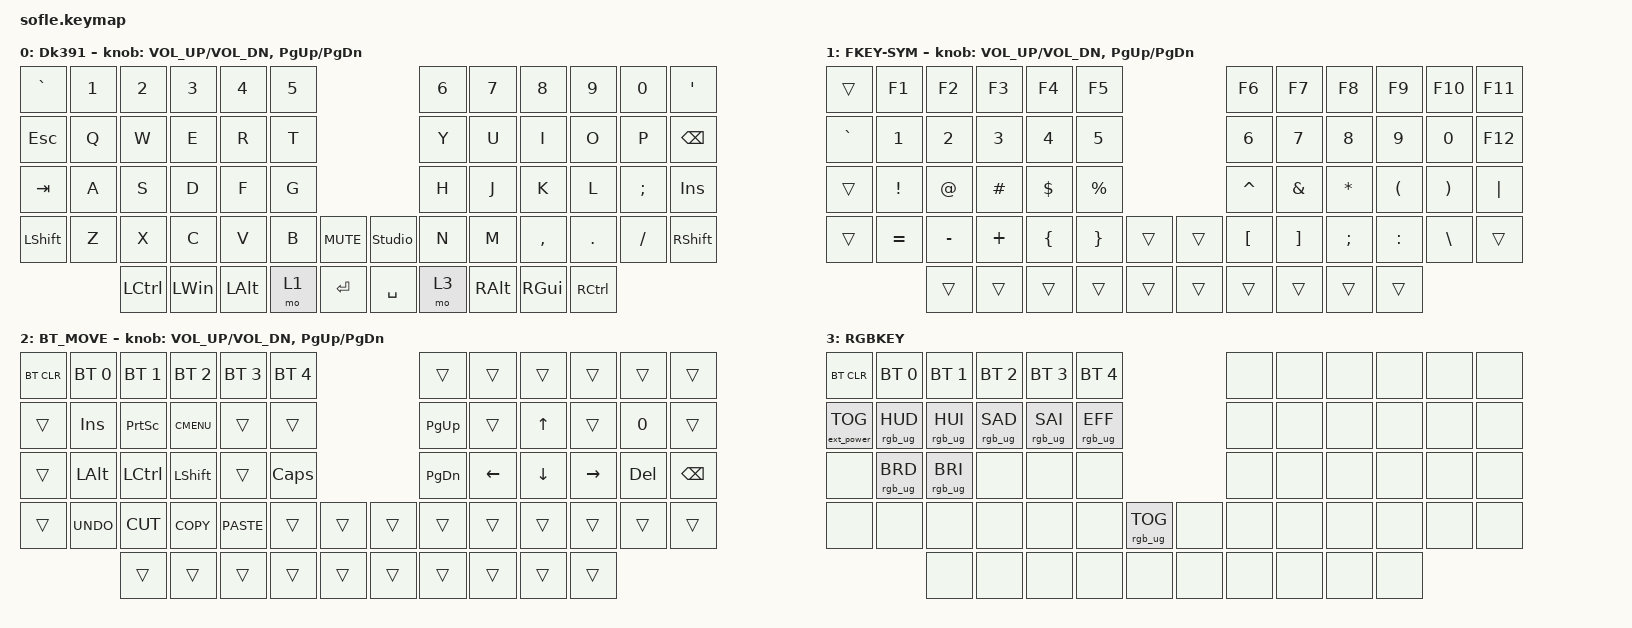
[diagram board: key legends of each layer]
/*
 * Copyright (c) 2020 The ZMK Contributors
 *
 * SPDX-License-Identifier: MIT
 */

#include <behaviors.dtsi>
#include <dt-bindings/zmk/bt.h>
#include <dt-bindings/zmk/ext_power.h>
#include <dt-bindings/zmk/keys.h>
#include <dt-bindings/zmk/rgb.h>

#define BASE 0
#define LOWER 1
#define RAISE 2
#define ADJUST 3

/ {
    // Activate ADJUST layer by pressing raise and lower

    conditional_layers {
        compatible = "zmk,conditional-layers";

        adjust_layer {
            if-layers = <1 3>;
            then-layer = <4>;
        };
    };

    combos {
        compatible = "zmk,combos";

        PowerOFF {
            bindings = <&kp K_POWER>;
            key-positions = <0 11 50 59>;
        };
    };

    keymap {
        compatible = "zmk,keymap";

        DEFAULT_LAYER {
            display-name = "Dk391";

            // ------------------------------------------------------------------------------------------------------------
            // |   `   |  1  |  2  |  3   |  4   |  5   |                   |  6   |  7    |  8    |  9   |   0   |       |
            // |  ESC  |  Q  |  W  |  E   |  R   |  T   |                   |  Y   |  U    |  I    |  O   |   P   | BKSPC |
            // |  TAB  |  A  |  S  |  D   |  F   |  G   |                   |  H   |  J    |  K    |  L   |   ;   |   '   |
            // | SHIFT |  Z  |  X  |  C   |  V   |  B   |  MUTE  |  |       |  N   |  M    |  ,    |  .   |   /   | SHIFT |
            //               | GUI | ALT  | CTRL | LOWER|  ENTER |  | SPACE | RAISE| CTRL  | ALT   | GUI  |

            bindings = <
&kp GRAVE       &kp N1  &kp N2     &kp N3        &kp N4    &kp N5                                &kp N6  &kp N7    &kp N8         &kp N9      &kp N0     &kp SINGLE_QUOTE
&kp ESC         &kp Q   &kp W      &kp E         &kp R     &kp T                                 &kp Y   &kp U     &kp I          &kp O       &kp P      &kp BACKSPACE
&kp TAB         &kp A   &kp S      &kp D         &kp F     &kp G                                 &kp H   &kp J     &kp K          &kp L       &kp SEMI   &kp INS
&kp LEFT_SHIFT  &kp Z   &kp X      &kp C         &kp V     &kp B   &kp C_MUTE    &studio_unlock  &kp N   &kp M     &kp COMMA      &kp PERIOD  &kp SLASH  &kp RIGHT_SHIFT
                        &kp LCTRL  &kp LEFT_WIN  &kp LALT  &mo 1   &kp RET       &kp SPACE       &mo 3   &kp RALT  &kp RIGHT_GUI  &kp RCTRL
            >;

            sensor-bindings = <&inc_dec_kp C_VOL_UP C_VOL_DN &inc_dec_kp PG_UP PG_DN>;
        };

        lower_layer {
            display-name = "FKEY-SYM";

            // TODO: Some binds are waiting for shifted keycode support.
            // ------------------------------------------------------------------------------------------------------------
            // |       |  F1 |  F2 |  F3  |  F4  |  F5  |                   |  F6  |  F7   |  F8   |  F9  |  F10  |  F11  |
            // |   `   |  1  |  2  |  3   |  4   |  5   |                   |  6   |  7    |  8    |  9   |   0   |  F12  |
            // |       |  !  |  @  |  #   |  $   |  %   |                   |  ^   |  &    |  *    |  (   |   )   |   |   |
            // |       |  =  |  -  |  +   |  {   |  }   |        |  |       |  [   |  ]    |  ;    |  :   |   \   |       |
            //               |     |      |      |      |        |  |       |      |       |       |      |

            bindings = <
&trans     &kp F1     &kp F2     &kp F3    &kp F4    &kp F5                       &kp F6     &kp F7    &kp F8     &kp F9     &kp F10   &kp F11
&kp GRAVE  &kp N1     &kp N2     &kp N3    &kp N4    &kp N5                       &kp N6     &kp N7    &kp N8     &kp N9     &kp N0    &kp F12
&trans     &kp EXCL   &kp AT     &kp HASH  &kp DLLR  &kp PRCNT                    &kp CARET  &kp AMPS  &kp ASTRK  &kp LPAR   &kp RPAR  &kp PIPE
&trans     &kp EQUAL  &kp MINUS  &kp PLUS  &kp LBRC  &kp RBRC   &trans    &trans  &kp LBKT   &kp RBKT  &kp SEMI   &kp COLON  &kp BSLH  &trans
                      &trans     &trans    &trans    &trans     &trans    &trans  &trans     &trans    &trans     &trans
            >;

            sensor-bindings = <&inc_dec_kp C_VOL_UP C_VOL_DN &inc_dec_kp PG_UP PG_DN>;
        };

        raise_layer {
            display-name = "BT_MOVE";

            // ------------------------------------------------------------------------------------------------------------
            // | BTCLR | BT1  | BT2  |  BT3  |  BT4  |  BT5 |                |      |      |       |      |       |       |
            // |       | INS  | PSCR | GUI   |       |      |                | PGUP |      |   ^   |      |       |       |
            // |       | ALT  | CTRL | SHIFT |       | CAPS |                | PGDN |   <- |   v   |  ->  |  DEL  | BKSPC |
            // |       | UNDO | CUT  | COPY  | PASTE |      |      |  |      |      |      |       |      |       |       |
            //                |      |       |       |      |      |  |      |      |      |       |      |

            bindings = <
&bt BT_CLR  &bt BT_SEL 0  &bt BT_SEL 1  &bt BT_SEL 2  &bt BT_SEL 3  &bt BT_SEL 4                    &trans     &trans    &trans    &trans     &trans   &trans
&trans      &kp INS       &kp PSCRN     &kp K_CMENU   &trans        &trans                          &kp PG_UP  &trans    &kp UP    &trans     &kp N0   &trans
&trans      &kp LALT      &kp LCTRL     &kp LSHFT     &trans        &kp CLCK                        &kp PG_DN  &kp LEFT  &kp DOWN  &kp RIGHT  &kp DEL  &kp BSPC
&trans      &kp K_UNDO    &kp K_CUT     &kp K_COPY    &kp K_PASTE   &trans        &trans    &trans  &trans     &trans    &trans    &trans     &trans   &trans
                          &trans        &trans        &trans        &trans        &trans    &trans  &trans     &trans    &trans    &trans
            >;

            sensor-bindings = <&inc_dec_kp C_VOL_UP C_VOL_DN &inc_dec_kp PG_UP PG_DN>;
        };

        adjust_layer {
            // ----------------------------------------------------------------------------------------------------------------------------
            // | BTCLR  |  BT1    |  BT2    |   BT3   |   BT4   |   BT5   |                  |      |      |       |      |       |       |
            // | EXTPWR | RGB_HUD | RGB_HUI | RGB_SAD | RGB_SAI | RGB_EFF |                  |      |      |       |      |       |       |
            // |        | RGB_BRD | RGB_BRI |         |         |         |                  |      |      |       |      |       |       |
            // |        |         |         |         |         |         | RGB_TOG | |      |      |      |       |      |       |       |
            //                    |         |         |         |         |         | |      |      |      |       |      |

            display-name = "RGBKEY";
            bindings = <
&bt BT_CLR         &bt BT_SEL 0     &bt BT_SEL 1     &bt BT_SEL 2     &bt BT_SEL 3     &bt BT_SEL 4                               &none  &none  &none  &none  &none  &none
&ext_power EP_TOG  &rgb_ug RGB_HUD  &rgb_ug RGB_HUI  &rgb_ug RGB_SAD  &rgb_ug RGB_SAI  &rgb_ug RGB_EFF                            &none  &none  &none  &none  &none  &none
&none              &rgb_ug RGB_BRD  &rgb_ug RGB_BRI  &none            &none            &none                                      &none  &none  &none  &none  &none  &none
&none              &none            &none            &none            &none            &none            &rgb_ug RGB_TOG    &none  &none  &none  &none  &none  &none  &none
                                    &none            &none            &none            &none            &none              &none  &none  &none  &none  &none
            >;
        };
    };
};
